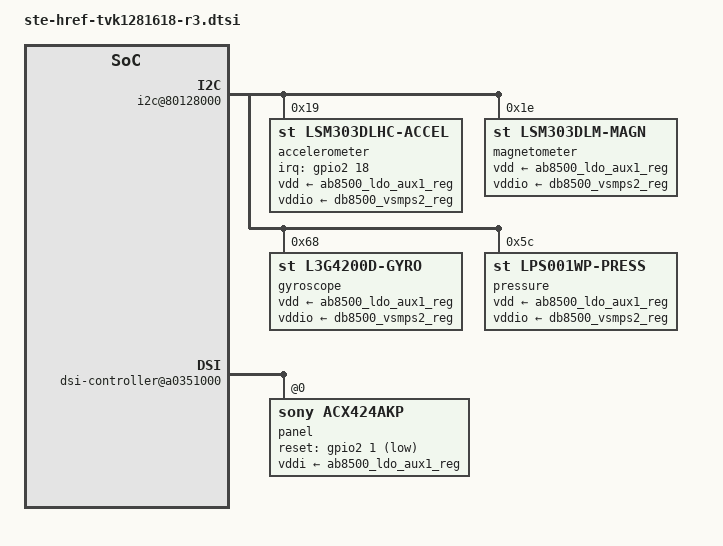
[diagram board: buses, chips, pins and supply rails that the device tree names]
// SPDX-License-Identifier: GPL-2.0-or-later
/*
 * Device Tree for the TVK1281618 R2 UIB
 */

#include "ste-href-tvk1281618.dtsi"

/ {
	soc {
		i2c@80128000 {
			accelerometer@19 {
				compatible = "st,lsm303dlhc-accel";
				st,drdy-int-pin = <1>;
				reg = <0x19>;
				vdd-supply = <&ab8500_ldo_aux1_reg>;
				vddio-supply = <&db8500_vsmps2_reg>;
				interrupt-parent = <&gpio2>;
				interrupts = <18 IRQ_TYPE_EDGE_RISING>,
					     <19 IRQ_TYPE_EDGE_RISING>;
				pinctrl-names = "default";
				pinctrl-0 = <&accel_tvk_mode>;
				mount-matrix = "0", "-1", "0",
					       "-1", "0", "0",
					       "0", "0", "-1";
			};
			magnetometer@1e {
				compatible = "st,lsm303dlm-magn";
				st,drdy-int-pin = <1>;
				reg = <0x1e>;
				vdd-supply = <&ab8500_ldo_aux1_reg>;
				vddio-supply = <&db8500_vsmps2_reg>;
				// This interrupt is not properly working with the driver
				// interrupt-parent = <&gpio1>;
				// interrupts = <0 IRQ_TYPE_EDGE_RISING>;
				pinctrl-names = "default";
				pinctrl-0 = <&magn_tvk_mode>;
			};
			gyroscope@68 {
				/* Gyroscope */
				compatible = "st,l3g4200d-gyro";
				reg = <0x68>;
				vdd-supply = <&ab8500_ldo_aux1_reg>;
				vddio-supply = <&db8500_vsmps2_reg>;
			};
			pressure@5c {
				/* Barometer/pressure sensor */
				compatible = "st,lps001wp-press";
				reg = <0x5c>;
				vdd-supply = <&ab8500_ldo_aux1_reg>;
				vddio-supply = <&db8500_vsmps2_reg>;
			};
		};

		mcde@a0350000 {
			status = "okay";

			dsi-controller@a0351000 {
				panel {
					compatible = "sony,acx424akp";
					reg = <0>;
					vddi-supply = <&ab8500_ldo_aux1_reg>;
					reset-gpios = <&gpio2 1 GPIO_ACTIVE_LOW>;
				};
			};
		};

		pinctrl {
			accelerometer {
				accel_tvk_mode: accel_tvk {
					/* Accelerometer interrupt lines 1 & 2 */
					tvk_cfg {
						pins = "GPIO82_C1", "GPIO83_D3";
						ste,config = <&gpio_in_pd>;
					};
				};
			};
			magnetometer {
				magn_tvk_mode: magn_tvk {
					/* GPIO 32 used for DRDY, pull this down */
					tvk_cfg {
						pins = "GPIO32_V2";
						ste,config = <&gpio_in_pd>;
					};
				};
			};
		};
	};
};
